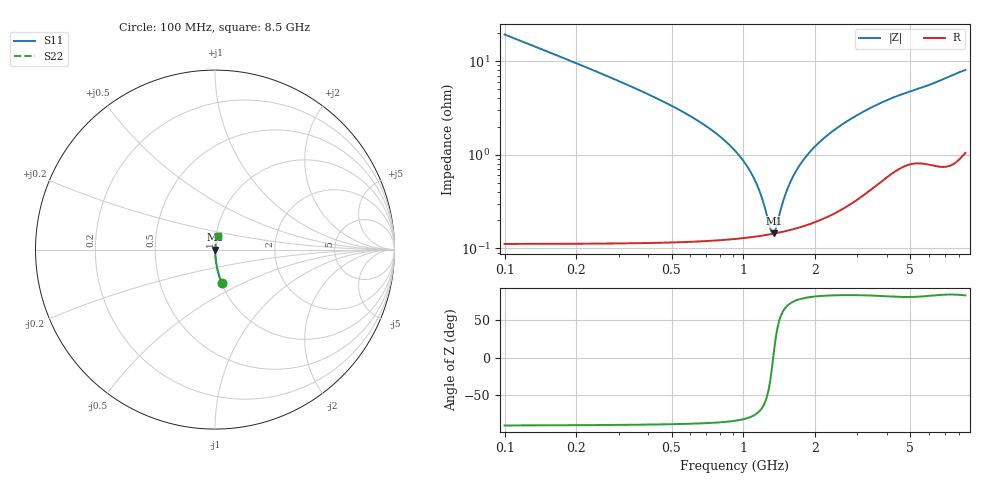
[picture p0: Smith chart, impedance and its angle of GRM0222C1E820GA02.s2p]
!Murata Part Number: GRM0222C1E820GA02
!These Parameters are Measured in Series Mode Connection
!Data Generated on Mar 30, 2021
!  o--ll--o
!Port1  Port2
!  o------o
!Operation Temp=25[degC], DC Bias Voltage=0[V]
!Freq. Start=100[MHz] Stop=9[GHz] 401[Steps]
# Hz S RI R 50
!Freq.(Hz) S11(Real) S11(Imag) S21(Real) S21(Imag) S12(Real) S12(Imag) S22(Real) S22(Imag)
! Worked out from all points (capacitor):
!   401 points, 100 MHz to 8.5 GHz, reference 50 ohm
!   read as one part in series: C = 82 pF near 142 MHz
!   lowest |Z| = 144 mohm at 1.339 GHz (marker M1)
!   series resonance near 1.332 GHz, so ESL is about 170 pH
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1e8  0.0369 -0.1857  0.9631 0.1857  0.9631 0.1857  0.0369 -0.1857
2.26e8  0.00801 -0.0827  0.992 0.0827  0.992 0.0827  0.00801 -0.0827
3.52e8  0.00375 -0.051  0.9963 0.051  0.9963 0.051  0.00375 -0.051
4.99e8  0.00227 -0.0333  0.9977 0.0333  0.9977 0.0333  0.00227 -0.0333
8.56e8  0.00141 -0.0133  0.9986 0.0133  0.9986 0.0133  0.00141 -0.0133
1.024e9  0.00135 -0.00775  0.9986 0.00775  0.9986 0.00775  0.00135 -0.00775
1.15e9  0.00136 -0.0043  0.9986 0.0043  0.9986 0.0043  0.00136 -0.0043
1.297e9  0.00141 -0.000781  0.9986 0.000781  0.9986 0.000781  0.00141 -0.000781
1.339e9  0.00143 0.000147  0.9986 -0.000147  0.9986 -0.000147  0.00143 0.000147
1.381e9  0.00145 0.00105  0.9985 -0.00105  0.9985 -0.00105  0.00145 0.00105
1.507e9  0.00154 0.0036  0.9985 -0.0036  0.9985 -0.0036  0.00154 0.0036
1.591e9  0.00161 0.0052  0.9984 -0.0052  0.9984 -0.0052  0.00161 0.0052
1.696e9  0.0017 0.0071  0.9983 -0.0071  0.9983 -0.0071  0.0017 0.0071
1.822e9  0.00183 0.00927  0.9982 -0.00927  0.9982 -0.00927  0.00183 0.00927
1.969e9  0.00201 0.0117  0.998 -0.0117  0.998 -0.0117  0.00201 0.0117
2.368e9  0.00261 0.0177  0.9974 -0.0177  0.9974 -0.0177  0.00261 0.0177
2.914e9  0.00377 0.0251  0.9962 -0.0251  0.9962 -0.0251  0.00377 0.0251
3.544e9  0.0056 0.0327  0.9944 -0.0327  0.9944 -0.0327  0.0056 0.0327
4.3e9  0.00818 0.0403  0.9918 -0.0403  0.9918 -0.0403  0.00818 0.0403
5.707e9  0.0106 0.0517  0.9894 -0.0517  0.9894 -0.0517  0.0106 0.0517
7.114e9  0.0117 0.0652  0.9883 -0.0652  0.9883 -0.0652  0.0117 0.0652
8.5e9  0.0165 0.0776  0.9835 -0.0776  0.9835 -0.0776  0.0165 0.0776
